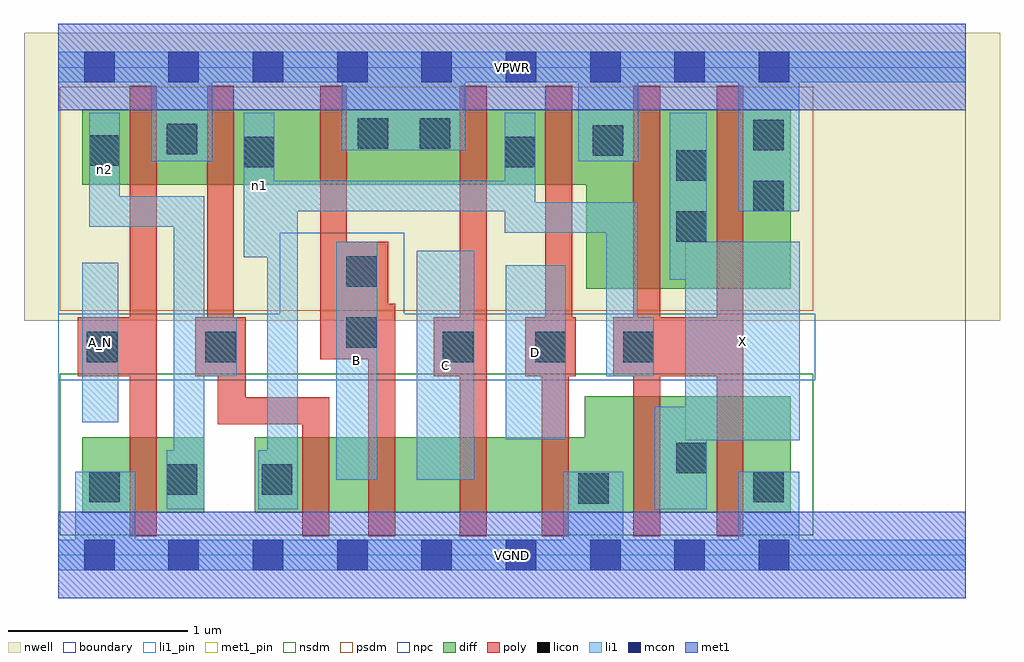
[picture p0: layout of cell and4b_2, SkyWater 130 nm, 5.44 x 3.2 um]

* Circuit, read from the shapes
.subckt and4b_2 A_N B C D VGND VPWR X n1 n2
XM1 n2 A_N VGND VSUBS sky130_fd_pr__nfet_01v8 w=0.42 l=0.15
XM2 n3 n2 n1 VSUBS sky130_fd_pr__nfet_01v8 w=0.42 l=0.15
XM3 n4 B n3 VSUBS sky130_fd_pr__nfet_01v8 w=0.42 l=0.15
XM4 n5 C n4 VSUBS sky130_fd_pr__nfet_01v8 w=0.42 l=0.15
XM5 VGND D n5 VSUBS sky130_fd_pr__nfet_01v8 w=0.42 l=0.15
XM6 X n1 VGND VSUBS sky130_fd_pr__nfet_01v8 w=0.65 l=0.15 m=2
XM7 VPWR A_N n2 n6 sky130_fd_pr__pfet_01v8 w=0.42 l=0.15
XM8 n1 n2 VPWR n6 sky130_fd_pr__pfet_01v8 w=0.42 l=0.15
XM9 VPWR B n1 n6 sky130_fd_pr__pfet_01v8 w=0.42 l=0.15
XM10 n1 C VPWR n6 sky130_fd_pr__pfet_01v8 w=0.42 l=0.15
XM11 VPWR D n1 n6 sky130_fd_pr__pfet_01v8 w=0.42 l=0.15
XM12 X n1 VPWR n6 sky130_fd_pr__pfet_01v8 w=1 l=0.15 m=2
.ends

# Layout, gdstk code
import gdstk
lib = gdstk.Library(unit=1e-6, precision=1e-09)
def R(c, l, rs):  # rectangles x0, y0, x1, y1
    for r in rs: c.add(gdstk.rectangle(r[:2], r[2:], *l))
def A(c, l, x, y, w, h, nx, ny, dx, dy):  # array of equal rectangles
    R(c, l, [(x+i*dx, y+j*dy, x+i*dx+w, y+j*dy+h) for i in range(nx) for j in range(ny)])
nwell = (64, 20)
diff = (65, 20)
poly = (66, 20)
licon = (66, 44)
li1_pin = (67, 16)
li1 = (67, 20)
mcon = (67, 44)
met1_pin = (68, 16)
met1 = (68, 20)
nsdm = (93, 44)
psdm = (94, 20)
npc = (95, 20)
boundary = (235, 4)

and4b_2 = lib.new_cell('and4b_2')
R(and4b_2, nwell, [(-0.19,1.305,5.25,2.91), (0,1.305,5.06,2.91)])
R(and4b_2, diff, [(0.135,0.235,0.815,0.655), (1.095,0.235,4.085,0.655), (2.935,0.235,4.085,0.885), (2.945,1.485,4.085,2.485), (0.135,2.065,4.085,2.485)])
R(and4b_2, poly, [(0.4,0.105,0.55,2.615), (1.36,0.105,1.51,0.88), (1.73,0.105,1.88,1.4), (2.24,0.105,2.39,2.615), (2.695,0.105,2.845,1.325), (3.205,0.105,3.355,2.615), (3.67,0.105,3.82,2.615), (0.89,0.73,1.51,0.88), (0.89,0.73,1.045,1.325), (0.11,0.995,0.55,1.325), (0.765,0.995,1.045,1.325), (0.83,0.995,0.98,2.615), (2.095,0.995,2.39,1.325), (2.605,0.995,2.885,1.325), (2.715,0.995,2.865,2.615), (3.095,0.995,3.82,1.325), (1.46,1.09,1.84,1.745), (1.46,1.09,1.61,2.615)])
R(and4b_2, licon, [(2.9,0.285,3.07,0.455), (0.175,0.295,0.345,0.465), (3.875,0.295,4.045,0.465), (0.605,0.335,0.775,0.505), (1.135,0.335,1.305,0.505), (3.445,0.455,3.615,0.625), (0.16,1.075,0.33,1.245), (0.82,1.075,0.99,1.245), (2.145,1.075,2.315,1.245), (2.66,1.075,2.83,1.245), (3.15,1.075,3.32,1.245), (1.605,1.155,1.775,1.325), (1.605,1.495,1.775,1.665), (3.445,1.745,3.615,1.915), (3.875,1.915,4.045,2.085), (3.445,2.085,3.615,2.255), (1.035,2.16,1.205,2.33), (2.49,2.16,2.66,2.33), (0.175,2.17,0.345,2.34), (2.98,2.225,3.15,2.395), (0.605,2.235,0.775,2.405), (3.875,2.255,4.045,2.425), (1.67,2.265,1.84,2.435), (2.015,2.265,2.185,2.435)])
R(and4b_2, li1_pin, [(1.55,0.42,1.78,1.745), (2,0.42,2.32,1.695), (3.495,0.64,4.135,1.745), (2.495,0.645,2.83,1.615), (0.135,0.74,0.335,1.63)])
R(and4b_2, li1, [(0,-0.085,5.06,0.085), (0.095,-0.085,0.43,0.465), (2.815,-0.085,3.15,0.465), (3.79,-0.085,4.13,0.465), (0.605,0.255,0.815,0.585), (0.645,0.255,0.815,2), (1.115,0.255,1.335,0.585), (1.165,0.255,1.335,2.085), (3.325,0.255,3.615,0.825), (1.55,0.42,1.78,1.745), (2,0.42,2.32,1.695), (3.495,0.64,4.135,1.745), (2.495,0.645,2.83,1.615), (0.135,0.74,0.335,1.63), (0.645,0.995,0.995,1.325), (3.055,0.995,3.23,1.965), (3.055,0.995,3.32,1.325), (3.41,1.535,3.615,2.465), (1.035,1.66,1.205,2.465), (2.49,1.795,3.23,1.965), (2.49,1.795,2.66,2.465), (0.175,1.83,0.345,2.465), (0.175,1.83,0.815,2), (1.035,1.915,2.66,2.085), (3.79,1.915,4.13,2.805), (0.52,2.195,0.86,2.805), (2.9,2.195,3.235,2.805), (1.58,2.255,2.27,2.805), (0,2.635,5.06,2.805)])
A(and4b_2, mcon, 0.145, -0.085, 0.17, 0.17, 9, 2, 0.47, 2.72)
R(and4b_2, met1_pin, [(0,-0.24,5.06,0.24), (0,2.48,5.06,2.96)])
R(and4b_2, met1, [(0,-0.24,5.06,0.24), (0,2.48,5.06,2.96)])
R(and4b_2, nsdm, [(0.01,0.11,4.21,1.01)])
R(and4b_2, psdm, [(0.01,1.36,4.21,2.61)])
R(and4b_2, npc, [(0,0.975,4.22,1.345), (1.235,0.975,1.93,1.795)])
R(and4b_2, boundary, [(0,0,5.06,2.72)])
and4b_2.add(gdstk.Label('A_N', (0.235,1.185), layer=67, texttype=5))
and4b_2.add(gdstk.Label('B', (1.665,1.082), layer=67, texttype=5))
and4b_2.add(gdstk.Label('C', (2.16,1.057), layer=67, texttype=5))
and4b_2.add(gdstk.Label('D', (2.662,1.13), layer=67, texttype=5))
and4b_2.add(gdstk.Label('X', (3.815,1.192), layer=67, texttype=5))
and4b_2.add(gdstk.Label('n2', (0.26,2.147), layer=67, texttype=5))
and4b_2.add(gdstk.Label('n1', (1.12,2.062), layer=67, texttype=5))
and4b_2.add(gdstk.Label('VPWR', (2.53,2.72), layer=68, texttype=5))
and4b_2.add(gdstk.Label('VGND', (2.53,0), layer=68, texttype=5))
and4b_2.add(gdstk.Label('A_N', (0.235,1.185), layer=67, texttype=16))
and4b_2.add(gdstk.Label('B', (1.665,1.082), layer=67, texttype=16))
and4b_2.add(gdstk.Label('C', (2.16,1.057), layer=67, texttype=16))
and4b_2.add(gdstk.Label('D', (2.662,1.13), layer=67, texttype=16))
and4b_2.add(gdstk.Label('X', (3.815,1.192), layer=67, texttype=16))
and4b_2.add(gdstk.Label('VPWR', (2.53,2.72), layer=68, texttype=16))
and4b_2.add(gdstk.Label('VGND', (2.53,0), layer=68, texttype=16))

lib.write_gds('and4b_2.gds')
